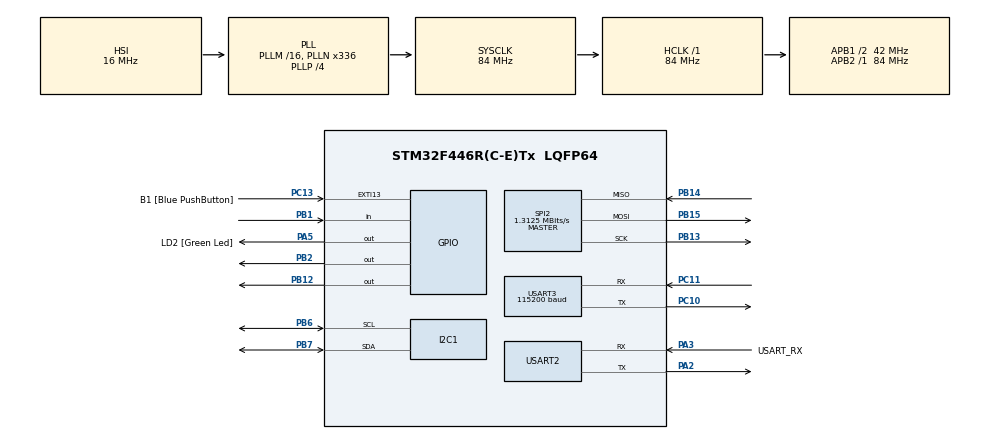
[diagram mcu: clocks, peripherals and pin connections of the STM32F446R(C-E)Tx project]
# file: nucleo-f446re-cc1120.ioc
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Mcu.Family=STM32F4
PH0-OSC_IN.Signal=RCC_OSC_IN
RCC.CortexFreq_Value=84000000
SPI2.VirtualType=VM_MASTER
PC10.Signal=USART3_TX
PA14.GPIO_Label=TCK
PC13.GPIO_Label=B1 [Blue PushButton]
PB13.Signal=SPI2_SCK
PB15.Signal=SPI2_MOSI
RCC.SYSCLKSource=RCC_SYSCLKSOURCE_PLLCLK
ProjectManager.StackSize=0x400
USART3.BaudRate=115200
RCC.HCLKFreq_Value=84000000
RCC.APB2TimFreq_Value=84000000
PB6.Signal=I2C1_SCL
PB6.Mode=I2C
RCC.AHBFreq_Value=84000000
SPI2.BaudRatePrescaler=SPI_BAUDRATEPRESCALER_32
PH0-OSC_IN.Mode=HSE-External-Oscillator
RCC.HSE_VALUE=8000000
PB2.Signal=GPIO_Output
PC14-OSC32_IN.Mode=LSE-External-Oscillator
PA14.Mode=Serial_Wire
PB14.Mode=Full_Duplex_Master
SPI2.CalculateBaudRate=1.3125 MBits/s
PB7.Signal=I2C1_SDA
RCC.FLatency-AdvancedSettings=FLASH_LATENCY_2
PH1-OSC_OUT.Mode=HSE-External-Oscillator
Mcu.Package=LQFP64
PB1.Signal=GPIO_Input
SPI2.Mode=SPI_MODE_MASTER
USART2.VirtualMode=VM_ASYNC
PC11.Mode=Asynchronous
RCC.APB1TimFreq_Value=84000000
SPI2.Direction=SPI_DIRECTION_2LINES
PB13.Mode=Full_Duplex_Master
PA3.Signal=USART2_RX
PB3.GPIO_Label=SWO
PC15-OSC32_OUT.Mode=LSE-External-Oscillator
PC13.Signal=GPXTI13
PC11.Signal=USART3_RX
PC10.Mode=Asynchronous
RCC.APB1CLKDivider=RCC_HCLK_DIV2
PC14-OSC32_IN.Signal=RCC_OSC32_IN
PA13.Signal=SYS_JTMS-SWDIO
PA3.Mode=Asynchronous
ProjectManager.TargetToolchain=STM32CubeIDE
RCC.USBFreq_Value=168000000
PC15-OSC32_OUT.Signal=RCC_OSC32_OUT
PB14.Signal=SPI2_MISO
PA5.Signal=GPIO_Output
board=NUCLEO-F446RE
RCC.VCOOutputFreq_Value=336000000
PB15.Mode=Full_Duplex_Master
RCC.APB2Freq_Value=84000000
PH1-OSC_OUT.Signal=RCC_OSC_OUT
PA13.Mode=Serial_Wire
Mcu.Name=STM32F446R(C-E)Tx
PA13.GPIO_Label=TMS
PA2.Signal=USART2_TX
RCC.48MHZClocksFreq_Value=84000000
PB3.Signal=SYS_JTDO-SWO
RCC.SYSCLKFreq_VALUE=84000000
PA5.GPIO_Label=LD2 [Green Led]
PC13.GPIO_ModeDefaultEXTI=GPIO_MODE_IT_FALLING
USART3.VirtualMode=VM_ASYNC
PB7.Mode=I2C
PA14.Signal=SYS_JTCK-SWCLK
ProjectManager.HeapSize=0x200
RCC.HSI_VALUE=16000000
RCC.PLLP=RCC_PLLP_DIV4
NVIC.PriorityGroup=NVIC_PRIORITYGROUP_0
RCC.PLLN=336
PA2.Mode=Asynchronous
RCC.APB1Freq_Value=42000000
PB12.Signal=GPIO_Output
PA3.GPIO_Label=USART_RX

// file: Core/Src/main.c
/* USER CODE BEGIN Header */
/**
  ******************************************************************************
  * @file           : main.c
  * @brief          : Main program body
  ******************************************************************************
  * @attention
  *
  * <h2><center>&copy; Copyright (c) 2021 STMicroelectronics.
  * All rights reserved.</center></h2>
  *
  * This software component is licensed by ST under BSD 3-Clause license,
  * the "License"; You may not use this file except in compliance with the
  * License. You may obtain a copy of the License at:
  *                        opensource.org/licenses/BSD-3-Clause
  *
  ******************************************************************************
  */
/* USER CODE END Header */
#include <uart_lib.h>
#include <spi_lib.h>
#include "main.h"

/* USER CODE BEGIN PM */
/* Extended Configuration Registers */
const uint16 CC112X_MARCSTATE =           		0x2F73;
/* Command strobe registers */
const uint8 CC112X_SRES =                    0x30;      /*  SRES    - Reset chip. */
const uint8 CC112X_SFSTXON =                 0x31;      /*  SFSTXON - Enable and calibrate frequency synthesizer. */
const uint8 CC112X_SXOFF =                   0x32;      /*  SXOFF   - Turn off crystal oscillator. */
const uint8 CC112X_SCAL =                    0x33;      /*  SCAL    - Calibrate frequency synthesizer and turn it off. */
const uint8 CC112X_SRX =                     0x34;      /*  SRX     - Enable RX. Perform calibration if enabled. */
const uint8 CC112X_STX =                     0x35;      /*  STX     - Enable TX. If in RX state, only enable TX if CCA passes. */
const uint8 CC112X_SIDLE =                   0x36;      /*  SIDLE   - Exit RX / TX, turn off frequency synthesizer. */
const uint8 CC112X_SWOR =                    0x38;      /*  SWOR    - Start automatic RX polling sequence (Wake-on-Radio) */
const uint8 CC112X_SPWD =                    0x39;      /*  SPWD    - Enter power down mode when CSn goes high. */
const uint8 CC112X_SFRX =                    0x3A;      /*  SFRX    - Flush the RX FIFO buffer. */
const uint8 CC112X_SFTX =                    0x3B;      /*  SFTX    - Flush the TX FIFO buffer. */
const uint8 CC112X_SWORRST =                 0x3C;      /*  SWORRST - Reset real time clock. */
const uint8 CC112X_SNOP =                    0x3D;      /*  SNOP    - No operation. Returns status byte. */
const uint8 CC112X_AFC =                     0x37;      /*  AFC     - Automatic Frequency Correction */
/* Chip states returned in status byte */
const uint8 CC112X_STATE_IDLE =			0x00;
const uint8 CC112X_STATE_RX =           0x10;
const uint8 CC112X_STATE_TX =			0x20;
const uint8 CC112X_STATE_FSTXON =    	0x30;
const uint8 CC112X_STATE_CALIBRATE =  	0x40;
const uint8 CC112X_STATE_SETTLING =     0x50;
const uint8 CC112X_STATE_RXFIFO_ERROR = 0x60;
const uint8 CC112X_STATE_TXFIFO_ERROR = 0x70;
/* USER CODE END PM */

/* USER CODE BEGIN PV */
I2C_HandleTypeDef hi2c1;

SPI_HandleTypeDef hspi2;

UART_HandleTypeDef huart2;
UART_HandleTypeDef huart3;
/* USER CODE END PV */

void SystemClock_Config(void);
static void MX_GPIO_Init(void);
static void MX_USART2_UART_Init(void);
static void MX_SPI2_Init(void);
static void MX_USART3_UART_Init(void);
static void MX_I2C1_Init(void);
/* USER CODE BEGIN PFP */
void tx_strobe(void);
void rx_strobe(void);
void idle_strobe(void);
void flush_tx(void);
void flush_rx(void);
void std_fifo_write(void);
void std_fifo_read(void);
void direct_tx_fifo_read(void);
void tx_pointers_read(void);
void write_settings(void);
void tx_buff_size_read(void);
void read_marcstate(void);
/* USER CODE END PFP */

int main(void)
{
  /* USER CODE BEGIN 1 */
	//uint8 i2c_buf[32];
	//uint8 spi_buf[32];
	//char uart_buf[32];

	//uint8 uart_buf_len;

	//HAL_StatusTypeDef ret;

  /* USER CODE END 1 */

  /* MCU Configuration--------------------------------------------------------*/

  /* Reset of all peripherals, Initializes the Flash interface and the Systick. */
  HAL_Init();

  /* Configure the system clock */
  SystemClock_Config();

  /* Initialize all configured peripherals */
  MX_GPIO_Init();
  MX_USART2_UART_Init();
  MX_SPI2_Init();
  MX_USART3_UART_Init();
  MX_I2C1_Init();

  /* USER CODE BEGIN 2 */
  // set up connection to serial monitor
  initUART(huart2);
  // bring CSN high
  HAL_GPIO_WritePin(GPIOB, GPIO_PIN_12, GPIO_PIN_SET);
  // tell obc that comms is working
  HAL_GPIO_WritePin(GPIOB, GPIO_PIN_1, GPIO_PIN_SET);
  //tell user we're about to begin
  printString("<BEGIN PROGRAM>\r\n");
  /* USER CODE END 2 */

  /* Infinite loop */
  /* USER CODE BEGIN WHILE */
  while (1)
  {

	  tx_strobe();
	  read_marcstate();
	  HAL_Delay(1000);

	  rx_strobe();
	  read_marcstate();
	  HAL_Delay(1000);

	  //printString("...\r\n");
	  //HAL_Delay(1000);
    /* USER CODE END WHILE */

  }
}

void SystemClock_Config(void)
{
  RCC_OscInitTypeDef RCC_OscInitStruct = {0};
  RCC_ClkInitTypeDef RCC_ClkInitStruct = {0};

  /** Configure the main internal regulator output voltage
  */
  __HAL_RCC_PWR_CLK_ENABLE();
  __HAL_PWR_VOLTAGESCALING_CONFIG(PWR_REGULATOR_VOLTAGE_SCALE3);
  /** Initializes the RCC Oscillators according to the specified parameters
  * in the RCC_OscInitTypeDef structure.
  */
  RCC_OscInitStruct.OscillatorType = RCC_OSCILLATORTYPE_HSI;
  RCC_OscInitStruct.HSIState = RCC_HSI_ON;
  RCC_OscInitStruct.HSICalibrationValue = RCC_HSICALIBRATION_DEFAULT;
  RCC_OscInitStruct.PLL.PLLState = RCC_PLL_ON;
  RCC_OscInitStruct.PLL.PLLSource = RCC_PLLSOURCE_HSI;
  RCC_OscInitStruct.PLL.PLLM = 16;
  RCC_OscInitStruct.PLL.PLLN = 336;
  RCC_OscInitStruct.PLL.PLLP = RCC_PLLP_DIV4;
  RCC_OscInitStruct.PLL.PLLQ = 2;
  RCC_OscInitStruct.PLL.PLLR = 2;
  if (HAL_RCC_OscConfig(&RCC_OscInitStruct) != HAL_OK)
  {
    Error_Handler();
  }
  /** Initializes the CPU, AHB and APB buses clocks
  */
  RCC_ClkInitStruct.ClockType = RCC_CLOCKTYPE_HCLK|RCC_CLOCKTYPE_SYSCLK
                              |RCC_CLOCKTYPE_PCLK1|RCC_CLOCKTYPE_PCLK2;
  RCC_ClkInitStruct.SYSCLKSource = RCC_SYSCLKSOURCE_PLLCLK;
  RCC_ClkInitStruct.AHBCLKDivider = RCC_SYSCLK_DIV1;
  RCC_ClkInitStruct.APB1CLKDivider = RCC_HCLK_DIV2;
  RCC_ClkInitStruct.APB2CLKDivider = RCC_HCLK_DIV1;

  if (HAL_RCC_ClockConfig(&RCC_ClkInitStruct, FLASH_LATENCY_2) != HAL_OK)
  {
    Error_Handler();
  }
}

static void MX_I2C1_Init(void)
{

  hi2c1.Instance = I2C1;
  hi2c1.Init.ClockSpeed = 100000;
  hi2c1.Init.DutyCycle = I2C_DUTYCYCLE_2;
  hi2c1.Init.OwnAddress1 = 0;
  hi2c1.Init.AddressingMode = I2C_ADDRESSINGMODE_7BIT;
  hi2c1.Init.DualAddressMode = I2C_DUALADDRESS_DISABLE;
  hi2c1.Init.OwnAddress2 = 0;
  hi2c1.Init.GeneralCallMode = I2C_GENERALCALL_DISABLE;
  hi2c1.Init.NoStretchMode = I2C_NOSTRETCH_DISABLE;
  if (HAL_I2C_Init(&hi2c1) != HAL_OK)
  {
    Error_Handler();
  }

}

static void MX_SPI2_Init(void)
{

  /* SPI2 parameter configuration*/
  hspi2.Instance = SPI2;
  hspi2.Init.Mode = SPI_MODE_MASTER;
  hspi2.Init.Direction = SPI_DIRECTION_2LINES;
  hspi2.Init.DataSize = SPI_DATASIZE_8BIT;
  hspi2.Init.CLKPolarity = SPI_POLARITY_LOW;
  hspi2.Init.CLKPhase = SPI_PHASE_1EDGE;
  hspi2.Init.NSS = SPI_NSS_SOFT;
  hspi2.Init.BaudRatePrescaler = SPI_BAUDRATEPRESCALER_32;
  hspi2.Init.FirstBit = SPI_FIRSTBIT_MSB;
  hspi2.Init.TIMode = SPI_TIMODE_DISABLE;
  hspi2.Init.CRCCalculation = SPI_CRCCALCULATION_DISABLE;
  hspi2.Init.CRCPolynomial = 10;
  if (HAL_SPI_Init(&hspi2) != HAL_OK)
  {
    Error_Handler();
  }

}

static void MX_USART2_UART_Init(void)
{

  huart2.Instance = USART2;
  huart2.Init.BaudRate = 115200;
  huart2.Init.WordLength = UART_WORDLENGTH_8B;
  huart2.Init.StopBits = UART_STOPBITS_1;
  huart2.Init.Parity = UART_PARITY_NONE;
  huart2.Init.Mode = UART_MODE_TX_RX;
  huart2.Init.HwFlowCtl = UART_HWCONTROL_NONE;
  huart2.Init.OverSampling = UART_OVERSAMPLING_16;
  if (HAL_UART_Init(&huart2) != HAL_OK)
  {
    Error_Handler();
  }

}

static void MX_USART3_UART_Init(void)
{

  huart3.Instance = USART3;
  huart3.Init.BaudRate = 115200;
  huart3.Init.WordLength = UART_WORDLENGTH_8B;
  huart3.Init.StopBits = UART_STOPBITS_1;
  huart3.Init.Parity = UART_PARITY_NONE;
  huart3.Init.Mode = UART_MODE_TX_RX;
  huart3.Init.HwFlowCtl = UART_HWCONTROL_NONE;
  huart3.Init.OverSampling = UART_OVERSAMPLING_16;
  if (HAL_UART_Init(&huart3) != HAL_OK)
  {
    Error_Handler();
  }

}

static void MX_GPIO_Init(void)
{
  GPIO_InitTypeDef GPIO_InitStruct = {0};

  /* GPIO Ports Clock Enable */
  __HAL_RCC_GPIOC_CLK_ENABLE();
  __HAL_RCC_GPIOH_CLK_ENABLE();
  __HAL_RCC_GPIOA_CLK_ENABLE();
  __HAL_RCC_GPIOB_CLK_ENABLE();

  /*Configure GPIO pin Output Level */
  HAL_GPIO_WritePin(LD2_GPIO_Port, LD2_Pin, GPIO_PIN_RESET);

  /*Configure GPIO pin Output Level */
  HAL_GPIO_WritePin(GPIOB, GPIO_PIN_2|GPIO_PIN_12, GPIO_PIN_RESET);

  /*Configure GPIO pin : B1_Pin */
  GPIO_InitStruct.Pin = B1_Pin;
  GPIO_InitStruct.Mode = GPIO_MODE_IT_FALLING;
  GPIO_InitStruct.Pull = GPIO_NOPULL;
  HAL_GPIO_Init(B1_GPIO_Port, &GPIO_InitStruct);

  /*Configure GPIO pin : LD2_Pin */
  GPIO_InitStruct.Pin = LD2_Pin;
  GPIO_InitStruct.Mode = GPIO_MODE_OUTPUT_PP;
  GPIO_InitStruct.Pull = GPIO_NOPULL;
  GPIO_InitStruct.Speed = GPIO_SPEED_FREQ_LOW;
  HAL_GPIO_Init(LD2_GPIO_Port, &GPIO_InitStruct);

  /*Configure GPIO pin : PB1 */
  GPIO_InitStruct.Pin = GPIO_PIN_1;
  GPIO_InitStruct.Mode = GPIO_MODE_INPUT;
  GPIO_InitStruct.Pull = GPIO_NOPULL;
  HAL_GPIO_Init(GPIOB, &GPIO_InitStruct);

  /*Configure GPIO pins : PB2 PB12 */
  GPIO_InitStruct.Pin = GPIO_PIN_2|GPIO_PIN_12;
  GPIO_InitStruct.Mode = GPIO_MODE_OUTPUT_PP;
  GPIO_InitStruct.Pull = GPIO_NOPULL;
  GPIO_InitStruct.Speed = GPIO_SPEED_FREQ_LOW;
  HAL_GPIO_Init(GPIOB, &GPIO_InitStruct);

}

/* USER CODE BEGIN 4 */
/*************************************************************************************************/
/***************************************************
  * @ brief Write to the TX strobe command register
  * @ param None
  * @ retval None
  */
void tx_strobe(void)
{
	printString("called tx_strobe()\r\n");

	uint8 tempRxData = 0x0;

	// bring CSN low to begin communication
	HAL_GPIO_WritePin(GPIOB, GPIO_PIN_12, GPIO_PIN_RESET);

	// write out the command
	HAL_SPI_Transmit(&hspi2, (uint8_t*)(&CC112X_STX), 1, HAL_MAX_DELAY);

	//receive the register status on the miso line
	HAL_SPI_Receive(&hspi2, &tempRxData, 1, HAL_MAX_DELAY);

	// bring CSN high to end communication
	HAL_GPIO_WritePin(GPIOB, GPIO_PIN_12, GPIO_PIN_SET);

	// print out the state
	printString("RETURN: ");
	HAL_UART_Transmit(&huart2, tempRxData, strlen((char*) tempRxData), HAL_MAX_DELAY);
	printString("\r\n");
}

/***************************************************
  * @ brief Write to the RX strobe command register
  * @ param None
  * @ retval None
  */
void rx_strobe(void)
{
	printString("called rx_strobe()\r\n");

	uint8* state = 0x0;

	// bring CSN low to begin communication
	HAL_GPIO_WritePin(GPIOB, GPIO_PIN_12, GPIO_PIN_RESET);

	// write out the command
	HAL_SPI_Transmit(&hspi2, (uint8_t*)(&CC112X_SRX), 1, HAL_MAX_DELAY);

	//receive the register status on the miso line
	HAL_SPI_Receive(&hspi2, &state, 1, HAL_MAX_DELAY);

	// bring CSN high to end communication
	HAL_GPIO_WritePin(GPIOB, GPIO_PIN_12, GPIO_PIN_SET);

	// print out the state
	printString("RETURN: ");
	HAL_UART_Transmit(&huart2, &state, strlen((char*) state), HAL_MAX_DELAY);
	printString("\r\n");
}

/****************************************************
  * @ brief Write to the IDLE strobe command register
  * 		must be done before transmitting or receiving
  * @ param None
  * @ retval None
  */
void idle_strobe(void)
{
	printString("called idle_strobe()\r\n");
}

/***************************************************
  * @ brief remove all current bytes in the TX_FIFO Buffer,
  * 		does not re-adjust FIFO pointers.
  * @ param None
  * @ retval None
  */
void flush_tx(void)
{
	printString("called flush_tx()\r\n");
}

/***************************************************
  * @ brief remove all current bytes in the RX_FIFO Buffer,
  * 		does not re-adjust FIFO pointers.
  * @ param None
  * @ retval None
  */
void flush_rx(void)
{
	printString("called flush_rx()\r\n");
}

/***************************************************
  * @ brief Write the packet to the TX FIFO on the radio
  * @ param None
  * @ retval None
  */
void std_fifo_write(void)
{
	printString("called std_fifo_write()\r\n");
}

/***************************************************
  * @ brief Read the packet in the RX FIFO on the radio
  * @ param None
  * @ retval None
  */
void std_fifo_read(void)
{
	printString("called std_fifo_read()\r\n");
}

/***************************************************
  * @ brief Transmit packet using Direct Memory Access
  * @ param None
  * @ retval None
  */
void direct_tx_fifo_read(void)
{
	printString("called direct_tx_fifo_read()\r\n");
}

/***************************************************
  * @ brief Read the pointer location in the TX FIFO
  * @ param None
  * @ retval None
  */
void tx_pointers_read(void)
{
	printString("called tx_pointers_read()\r\n");
}

/***************************************************
  * @ brief Write the settings defined in preferredSettings array,
  * 		calls radios register config function.
  * @ param None
  * @ retval None
  */
void write_settings(void)
{
	printString("called write_settings()\r\n");
}

/***************************************************
  * @ brief Read How many bytes are in the TX FIFO
  * @ param None
  * @ retval None
  */
void tx_buff_size_read(void)
{
	printString("called tx_buff_size_read()\r\n");

}

/***************************************************
  * @ brief read the current state of the transceiver
  * @ param None
  * @ retval None
  */
void read_marcstate(void)
{
	//let user know what function we're using
	printString("called read_marcstate()\r\n");

	uint8 tempExt  = (CC112X_MARCSTATE>>8);
	uint8 tempAddr = (CC112X_MARCSTATE & 0x00FF);
	uint8 tempTxData = 0x00;
	uint8* tempRxData = 0x0;

	// bring CSN low to begin communication
	HAL_GPIO_WritePin(GPIOB, GPIO_PIN_12, GPIO_PIN_RESET);

	// begin access to extended register
	HAL_SPI_Transmit(&hspi2, (uint8*)&tempExt, 1, HAL_MAX_DELAY);

	// next byte needs to be the address of the marcstate register
	HAL_SPI_Transmit(&hspi2, (uint8*)&tempAddr, 1, HAL_MAX_DELAY);

	// read a value by sending all zeros on the mosi line
	HAL_SPI_Transmit(&hspi2, (uint8*)&tempTxData, 1, HAL_MAX_DELAY);

	//receive the register status on the miso line
	HAL_SPI_Receive(&hspi2, &tempRxData, 1, HAL_MAX_DELAY);

	// bring CSN high to end communication
	HAL_GPIO_WritePin(GPIOB, GPIO_PIN_12, GPIO_PIN_SET);

	// print out the state
	printString("MARCSTATE: ");
	HAL_UART_Transmit(&huart2, tempRxData, strlen((char*) tempRxData), HAL_MAX_DELAY);
	printString("\r\n");
}
/* USER CODE END 4 */

void Error_Handler(void)
{
  /* USER CODE BEGIN Error_Handler_Debug */
  /* User can add his own implementation to report the HAL error return state */
  __disable_irq();

  HAL_GPIO_WritePin(GPIOB, GPIO_PIN_1, GPIO_PIN_RESET); // tell obc that comms isn't working
  /* USER CODE END Error_Handler_Debug */
}

/************************ (C) COPYRIGHT STMicroelectronics *****END OF FILE****/
